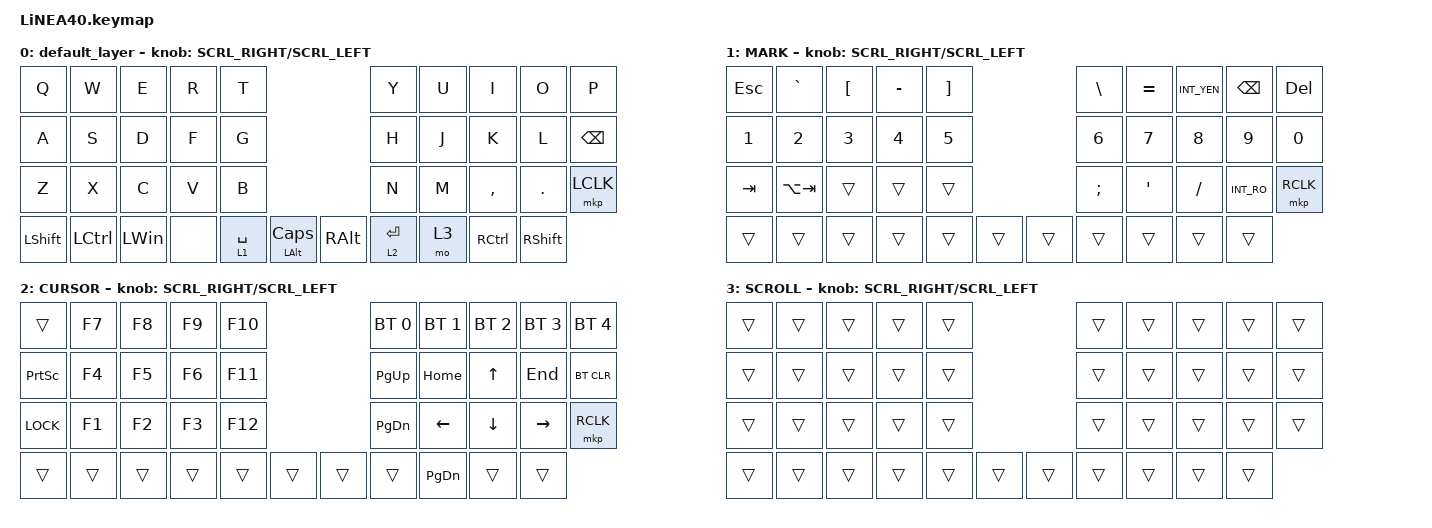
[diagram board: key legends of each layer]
#define ZMK_POINTING_DEFAULT_SCRL_VAL 20

#include <dt-bindings/zmk/input_transform.h>
#include <input/processors.dtsi>
#include <zephyr/dt-bindings/input/input-event-codes.h>
#include <behaviors.dtsi>
#include <dt-bindings/zmk/bt.h>
#include <dt-bindings/zmk/keys.h>
#include <dt-bindings/zmk/pointing.h>

#define MOUSE 7
#define MARK 1
#define CURSOR 2
#define FUNCTION 5
#define SCROLL 3
#define WIRELESS 6

//mouse cursol

&mmv {
    delay-ms = <20>;
    trigger-period-ms = <5>;
    time-to-max-speed-ms = <100>;
    acceleration-exponent = <2>;
};

//mouse scroll

&msc {
    delay-ms = <3>;
    trigger-period-ms = <3>;
    time-to-max-speed-ms = <100>;
    acceleration-exponent = <0>;
};

/ {
    input_processors {
        zip_wheel_scaler: zip_wheel_scaler {
            compatible = "zmk,input-processor-scaler";
            #input-processor-cells = <2>;
            type = <INPUT_EV_REL>;
            codes = <INPUT_REL_WHEEL>;
            track-remainders;
        };
    };
};

&msc_input_listener {
    speed_up {
        layers = <FUNCTION>;
        input-processors = <&zip_wheel_scaler 3 1>; //スクロールを3倍速にする
    };
};

&trackball_listener {
    scroller {
        layers = <SCROLL>;
        input-processors =
            <&zip_xy_transform INPUT_TRANSFORM_Y_INVERT>,
            //スクロール方向を逆転,,,,,,,,,,
            <&zip_xy_to_scroll_mapper>,
            <&zip_scroll_scaler 1 3>;
    };
};

/ {
    combos {
        compatible = "zmk,combos";

        ZenkakuHankaku {
            bindings = <&kp GRAVE>;
            key-positions = <11 12>;
        };

        DeleteKey {
            bindings = <&kp DEL>;
            key-positions = <7 8>;
        };

        InsertKey {
            bindings = <&kp INS>;
            key-positions = <6 7>;
        };

        CenterClick {
            bindings = <&mkp MB3>;
            key-positions = <17 16>;
        };

        RightClick {
            bindings = <&mkp MB2>;
            key-positions = <18 17>;
        };

        PrevClick {
            bindings = <&mkp MB4>;
            key-positions = <27 28>;
        };

        ClickNext {
            bindings = <&mkp MB5>;
            key-positions = <26 27>;
        };
    };

    behaviors {
        re_kp: sensor_rotate_kp {
            compatible = "zmk,behavior-sensor-rotate-var";
            #sensor-binding-cells = <2>;
            bindings = <&kp>, <&kp>;
        };

        mouse_scrl: mouse_wheel_scrl {
            compatible = "zmk,behavior-sensor-rotate-var";
            #sensor-binding-cells = <2>;
            bindings = <&msc>, <&msc>;

            tap-ms = <20>;
        };

        // &lt (layer-tap) のデフォルト挙動をグローバルに上書き

        lt {
            tapping-term-ms = <150>;
            quick-tap-ms = <40>;
        };

        // &mt (mod-tap) のデフォルト挙動をグローバルに上書き

        mt {
            tapping-term-ms = <150>;
            quick-tap-ms = <40>;
        };
    };

    keymap {
        compatible = "zmk,keymap";

        default_layer {
            bindings = <
&kp Q           &kp W             &kp E         &kp R  &kp T                                            &kp Y        &kp U  &kp I      &kp O      &kp P
&kp A           &kp S             &kp D         &kp F  &kp G                                            &kp H        &kp J  &kp K      &kp L      &kp BACKSPACE
&kp Z           &kp X             &kp C         &kp V  &kp B                                            &kp N        &kp M  &kp COMMA  &kp DOT    &mkp LCLK
&kp LEFT_SHIFT  &kp LEFT_CONTROL  &kp LEFT_WIN  &none  &lt 1 SPACE  &mt LEFT_ALT CAPS    &kp RIGHT_ALT  &lt 2 ENTER         &mo 3      &kp RCTRL  &kp RIGHT_SHIFT
            >;

            sensor-bindings = <&mouse_scrl SCRL_RIGHT SCRL_LEFT>;
        };

        //1
        //2

        MARK {
            bindings = <
&kp ESCAPE  &kp GRAVE    &kp LEFT_BRACKET  &kp MINUS  &kp RIGHT_BRACKET                    &kp BACKSLASH  &kp EQUAL  &kp INT_YEN  &kp BACKSPACE  &kp DELETE
&kp N1      &kp N2       &kp N3            &kp N4     &kp N5                               &kp N6         &kp N7     &kp N8       &kp N9         &kp N0
&kp TAB     &kp LA(TAB)  &trans            &trans     &trans                               &kp SEMI       &kp SQT    &kp FSLH     &kp INT_RO     &mkp RCLK
&trans      &trans       &trans            &trans     &trans             &trans    &trans  &trans                    &trans       &trans         &trans
            >;

            sensor-bindings = <&mouse_scrl SCRL_RIGHT SCRL_LEFT>;
        };

        //3

        CURSOR {
            bindings = <
&trans           &kp F7  &kp F8  &kp F9  &kp F10                    &bt BT_SEL 0   &bt BT_SEL 1  &bt BT_SEL 2   &bt BT_SEL 3  &bt BT_SEL 4
&kp PRINTSCREEN  &kp F4  &kp F5  &kp F6  &kp F11                    &kp PAGE_UP    &kp HOME      &kp UP         &kp END       &bt BT_CLR
&kp K_LOCK       &kp F1  &kp F2  &kp F3  &kp F12                    &kp PAGE_DOWN  &kp LEFT      &kp DOWN       &kp RIGHT     &mkp RCLK
&trans           &trans  &trans  &trans  &trans   &trans    &trans  &trans                       &kp PAGE_DOWN  &trans        &trans
            >;

            sensor-bindings = <&mouse_scrl SCRL_RIGHT SCRL_LEFT>;
        };

        SCROLL {
            bindings = <
&trans  &trans  &trans  &trans  &trans                    &trans  &trans  &trans  &trans  &trans
&trans  &trans  &trans  &trans  &trans                    &trans  &trans  &trans  &trans  &trans
&trans  &trans  &trans  &trans  &trans                    &trans  &trans  &trans  &trans  &trans
&trans  &trans  &trans  &trans  &trans  &trans    &trans  &trans          &trans  &trans  &trans
            >;

            sensor-bindings = <&mouse_scrl SCRL_RIGHT SCRL_LEFT>;
        };

        //4
        //5
        //6
    };
};
